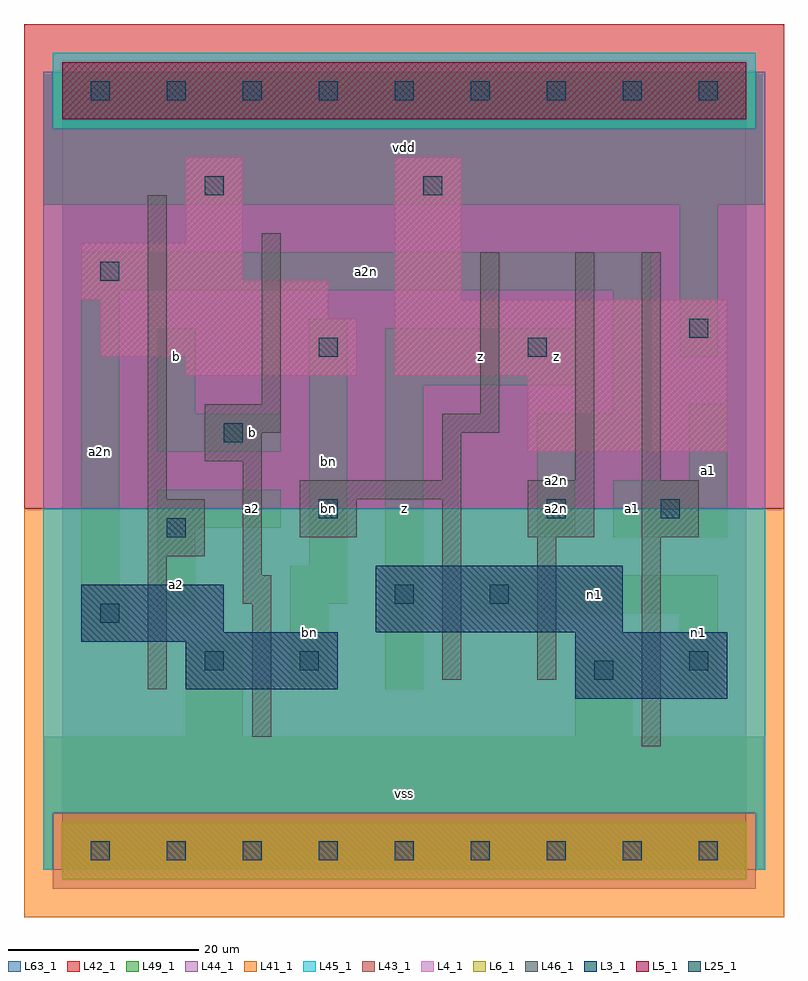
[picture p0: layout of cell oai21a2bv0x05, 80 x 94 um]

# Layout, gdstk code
import gdstk
lib = gdstk.Library(unit=1e-6, precision=1e-09)
def R(c, l, rs):  # rectangles x0, y0, x1, y1
    for r in rs: c.add(gdstk.rectangle(r[:2], r[2:], *l))
def A(c, l, x, y, w, h, nx, ny, dx, dy):  # array of equal rectangles
    R(c, l, [(x+i*dx, y+j*dy, x+i*dx+w, y+j*dy+h) for i in range(nx) for j in range(ny)])
L3_1 = (3, 1)
L4_1 = (4, 1)
L5_1 = (5, 1)
L6_1 = (6, 1)
L25_1 = (25, 1)
L41_1 = (41, 1)
L42_1 = (42, 1)
L43_1 = (43, 1)
L44_1 = (44, 1)
L45_1 = (45, 1)
L46_1 = (46, 1)
L49_1 = (49, 1)
L63_1 = (63, 1)

oai21a2bv0x05 = lib.new_cell('oai21a2bv0x05')
R(oai21a2bv0x05, L3_1, [(54,16,70,23), (13,17,29,22), (2,22,29,23), (2,23,17,28), (33,23,59,30)])
R(oai21a2bv0x05, L4_1, [(49,42,70,50), (13,50,31,52), (35,50,70,58), (4,52,31,56), (4,56,28,58), (2,58,28,60), (35,58,42,73), (2,60,19,64), (13,64,19,73)])
R(oai21a2bv0x05, L5_1, [(0,77,72,83)])
R(oai21a2bv0x05, L6_1, [(0,-3,72,3), (0,-3,72,3)])
A(oai21a2bv0x05, L25_1, 3, -1, 2, 2, 9, 2, 8, 80)
R(oai21a2bv0x05, L25_1, [(56,18,58,20), (15,19,17,21), (25,19,27,21), (66,19,68,21), (4,24,6,26), (35,26,37,28), (45,26,47,28), (11,33,13,35), (27,35,29,37), (51,35,53,37), (63,35,65,37), (17,43,19,45), (27,52,29,54), (49,52,51,54), (66,54,68,56), (4,60,6,62), (15,69,17,71), (38,69,40,71)])
R(oai21a2bv0x05, L41_1, [(-4,-7,76,36)])
R(oai21a2bv0x05, L42_1, [(-4,36,76,87)])
R(oai21a2bv0x05, L43_1, [(0,-3,72,3), (54,16,70,23), (13,17,29,22), (2,22,29,23), (2,23,17,28), (33,23,59,30), (49,42,70,50), (13,50,31,52), (35,50,70,58), (4,52,31,56), (4,56,28,58), (2,58,28,60), (35,58,42,73), (2,60,19,64), (13,64,19,73), (0,77,72,83)])
R(oai21a2bv0x05, L44_1, [(-1,-4,73,4), (-2,36,74,76), (-2,76,-1,82), (73,76,74,82)])
R(oai21a2bv0x05, L45_1, [(-2,-2,-1,4), (73,-2,74,4), (-2,4,74,36), (-1,76,73,84)])
R(oai21a2bv0x05, L46_1, [(61,11,63,33), (20,12,22,26), (9,17,11,31), (40,18,42,37), (50,18,52,33), (19,26,22,29), (19,29,21,41), (9,31,15,37), (25,33,31,37), (49,33,56,39), (61,33,67,39), (9,37,11,69), (25,37,42,39), (40,39,42,44), (54,39,56,63), (61,39,63,63), (15,41,21,44), (15,44,23,47), (40,44,46,46), (44,46,46,63), (21,47,23,65)])
R(oai21a2bv0x05, L49_1, [(-2,-2,74,12), (13,12,19,22), (54,12,60,21), (24,17,28,26), (34,17,38,49), (65,17,69,25), (2,22,7,28), (10,25,14,34), (43,25,69,29), (24,26,30,30), (2,28,6,59), (26,30,30,56), (50,33,54,42), (58,33,70,39), (10,34,23,38), (66,39,70,47), (10,42,23,46), (50,42,62,46), (10,46,14,55), (58,46,62,59), (34,49,54,55), (65,52,69,68), (2,59,62,63), (-2,68,74,82)])
R(oai21a2bv0x05, L63_1, [(0,0,72,80)])
oai21a2bv0x05.add(gdstk.Label('bn', (28,36), layer=49, texttype=1))
oai21a2bv0x05.add(gdstk.Label('a2n', (52,36), layer=49, texttype=1))
oai21a2bv0x05.add(gdstk.Label('a2n', (4,42), layer=49, texttype=1))
oai21a2bv0x05.add(gdstk.Label('a2', (12,28), layer=49, texttype=1))
oai21a2bv0x05.add(gdstk.Label('b', (20,44), layer=49, texttype=1))
oai21a2bv0x05.add(gdstk.Label('a2', (20,36), layer=49, texttype=1))
oai21a2bv0x05.add(gdstk.Label('b', (12,52), layer=49, texttype=1))
oai21a2bv0x05.add(gdstk.Label('vss', (36,6), layer=49, texttype=1))
oai21a2bv0x05.add(gdstk.Label('bn', (26,23), layer=49, texttype=1))
oai21a2bv0x05.add(gdstk.Label('z', (36,36), layer=49, texttype=1))
oai21a2bv0x05.add(gdstk.Label('bn', (28,41), layer=49, texttype=1))
oai21a2bv0x05.add(gdstk.Label('vdd', (36,74), layer=49, texttype=1))
oai21a2bv0x05.add(gdstk.Label('a2n', (52,39), layer=49, texttype=1))
oai21a2bv0x05.add(gdstk.Label('z', (52,52), layer=49, texttype=1))
oai21a2bv0x05.add(gdstk.Label('z', (44,52), layer=49, texttype=1))
oai21a2bv0x05.add(gdstk.Label('n1', (56,27), layer=49, texttype=1))
oai21a2bv0x05.add(gdstk.Label('n1', (67,23), layer=49, texttype=1))
oai21a2bv0x05.add(gdstk.Label('a1', (60,36), layer=49, texttype=1))
oai21a2bv0x05.add(gdstk.Label('a1', (68,40), layer=49, texttype=1))
oai21a2bv0x05.add(gdstk.Label('a2n', (32,61), layer=49, texttype=1))

lib.write_gds('oai21a2bv0x05.gds')
